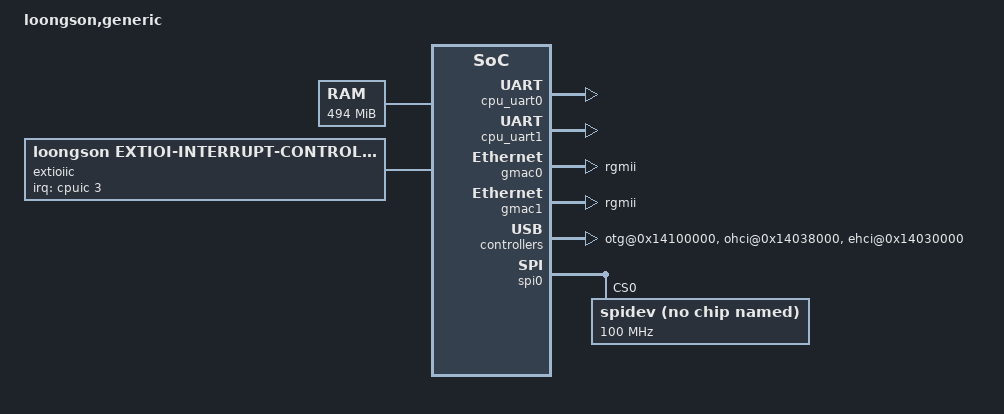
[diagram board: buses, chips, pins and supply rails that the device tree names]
/dts-v1/;
/ {
	model = "loongson,generic";
	compatible = "loongson,loongson3";
	#address-cells = <2>;
	#size-cells = <2>;

	aliases {
		ethernet0 = &gmac0;
		ethernet1 = &gmac1;
		serial0 = &cpu_uart0;
		serial1 = &cpu_uart1;
#if 0
		spi0 = &spi0;
#endif
	};

	chosen {
		stdout-path = "serial0:115200n8";
		bootargs = "earlycon";
	};

	memory {
		name = "memory";
		device_type = "memory";
		reg =  <0 0x00200000 0 0x0ee00000
			0 0x90000000 0 0x10000000>;
	};
#if 0
	reserved-memory {
		#address-cells = <1>;
		#size-cells = <1>;
		ranges;

		linux,cma {
			compatible = "shared-dma-pool";
			reusable;
			size = <0x2000000>;
			linux,cma-default;
		};
	};
#endif
	cpus {
		#address-cells = <1>;
		#size-cells = <0>;
		cpu-map {
			cluster0 {
				core0 {
					cpu = <&cpu0>;
				};
			};
		};


		cpu0: cpu@10000 {
			device_type = "cpu";
			compatible = "loongarch";
			reg=<0>;
			numa-node-id = <0>;
		};

	};

	cpuic: interrupt-controller {
		compatible = "loongson,cpu-interrupt-controller";
		interrupt-controller;
		#interrupt-cells = <1>;
	};

	icu: interrupt-controller@14001400 {
		compatible = "loongson,2k500-icu";
		interrupt-controller;
		#interrupt-cells = <1>;
		reg = <0 0x14001400 0 0x40
			0 0x14001040 0 16>;
		interrupt-parent = <&cpuic>;
		interrupt-names = "cascade";
		interrupts = <4>;
	};

	extioiic: interrupt-controller@0x14001600 {
		compatible = "loongson,extioi-interrupt-controller";
		interrupt-controller;
		#interrupt-cells = <1>;
		interrupt-parent = <&cpuic>;
		interrupts = <3>;
		interrupt-names = "cascade";
		vec_count=<128>;
		misc_func=<0x108>;
		eio_en_off=<24>;
	};

	soc {
		compatible = "ls,nbus", "simple-bus";
		#address-cells = <2>;
		#size-cells = <2>;
		ranges = <0 0x10000000 0 0x10000000 0 0x10000000
			0 0x2000000  0 0x2000000  0 0x2000000
			0 0x20000000 0 0x20000000 0 0x10000000
			0 0x40000000 0 0x40000000 0 0x40000000
			0xfe 0x00000000 0xfe 0x00000000 0 0x40000000>;

		isa@16400000 {
			compatible = "isa";
			#size-cells = <1>;
			#address-cells = <2>;
			ranges = <1 0 0 0x16400000 0x4000>;
		};

		cpu_uart0: serial@0x14200000 {
			compatible = "ns16550a";
			reg = <0 0x14200000 0 0x10>;
			clock-frequency = <100000000>;
			#interrupt-parent = <&extioiic>;
			interrupt-parent = <&icu>;
			interrupts = <0>;
			no-loopback-test;
		};

		cpu_uart1: serial@0x14200400 {
			compatible = "ns16550a";
			reg = <0 0x14200400 0 0x10>;
			clock-frequency = <100000000>;
			#interrupt-parent = <&extioiic>;
			interrupt-parent = <&icu>;
			interrupts = <1>;
			no-loopback-test;
		};

#if 0
		/*emmc*/
		emmc0@0x14210000 {
			#address-cells = <2>;
			compatible = "loongson,ls2k_sdio_1.1";
			reg = <0 0x14210000 0 0x1000>;
			interrupt-parent = <&icu>;
			interrupts = <13>;
			interrupt-names = "ls2k_mci_irq";
			dma-mask = <0xffffffff 0xffffffff>;
			clock-frequency = <0 100000000>;
			bus-width = <8>;
			cap-mmc-highspeed;
			no_sd;
			no_sdio;
		};

		sdio0@0x14218000 {
			#address-cells = <2>;
			compatible = "loongson,ls2k_sdio_1.1";
			reg = <0 0x14218000 0 0x1000>;
			interrupt-parent = <&icu>;
			interrupts = <13>;
			interrupt-names = "ls2k_mci_irq";
			clock-frequency = <0 100000000>;
			dma-mask = <0xffffffff 0xffffffff>;
			bus-width = <4>;
			cap-sd-highspeed;
			no-mmc;
		};
#endif
		gmac0: ethernet@0x14140000 {
			compatible = "snps,dwmac-3.70a";
			reg = <0 0x14140000 0 0x10000>;
			interrupt-parent = <&icu>;
			interrupts = <18>;
			interrupt-names = "macirq";
			mac-address = [ 64 48 48 48 48 60 ];/* [>mac 64:48:48:48:48:60 <]*/
			phy-mode = "rgmii";
			bus_id = <0x0>;
			phy_addr = <0xffffffff>;
			dma-mask = <0xffffffff 0xffffffff>;
		};

		gmac1: ethernet@0x14020000 {
			compatible = "snps,dwmac-3.70a";
			reg = <0 0x14020000 0 0x10000>;
			interrupt-parent = <&icu>;
			interrupts = <22>;
			interrupt-names = "macirq";
			mac-address = [ 64 48 48 48 48 61 ];/* [>mac 64:48:48:48:48:61 <]*/
			phy-mode = "rgmii";
			bus_id = <0x1>;
			phy_addr = <0xffffffff>;
			dma-mask = <0xffffffff 0xffffffff>;
		};
#if 1
		otg@0x14100000 {
			compatible = "loongson,dwc-otg","dwc-otg","loongson,dwc2";
			reg = <0 0x14100000 0 0x40000>;
			interrupt-parent = <&extioiic>;
			interrupts = <39>;
			dma-mask = <0x0 0xffffffff>;
		};
#endif
		ohci@0x14038000 {
			compatible = "loongson,ls2k-ohci", "generic-ohci";
			reg = <0 0x14038000 0 0x8000>;
			interrupt-parent = <&extioiic>;
			interrupts = <59>;
			dma-mask = <0x0 0xffffffff>;
		};

		ehci@0x14030000 {
			compatible = "loongson,ls2k-ehci", "generic-ehci";
			reg = <0 0x14030000 0 0x8000>;
			interrupt-parent = <&extioiic>;
			interrupts = <58>;
			dma-mask = <0xffffffff 0xffffffff>;
		};

		spi0: spi@0x14010000 {
			compatible = "loongson,ls-spi";
			reg = <0 0x14010000 0 0x10>;
			spidev@0 {
				compatible = "rohm,dh2228fv";
				spi-max-frequency = <100000000>;
				reg = <0>;
			};
		};
#if 0 //TODO, new spi ctrl
		spi1: spi@0x14203000 {
			compatible = "loongson,ls-spi";
			reg = <0 0x14203000 0 0x10>;
			spi-nocs;
			status = "disabled";
		};

		spi2: spi@0x15109000 {
			compatible = "loongson,ls-spi";
			reg = <0 0x15109000 0 0x10>;
			spi-nocs;
			status = "disabled";
		};

		spi3: spi@0x15203000 {
			compatible = "loongson,ls-spi";
			reg = <0 0x15203000 0 0x10>;
			spi-nocs;
			status = "disabled";
		};
#endif
#if 0
		i2c0: i2c@0x14201000 {
			compatible = "loongson,ls2k-i2c";
			reg = <0 0x14201000 0 0x0800>;
			interrupt-parent = <&extioiic>;
			interrupts = <4>;
			eeprom@57 {
				compatible = "atmel,24c16";
				reg = <0x57>;
				pagesize = <16>;
			};
			status = "disabled";
		};

		i2c1: i2c@0x14202800 {
			compatible = "loongson,ls2k-i2c";
			reg = <0 0x14202800 0 0x0800>;
			interrupt-parent = <&extioiic>;
			interrupts = <5>;
			status = "disabled";
		};

		i2c2: i2c@0x15101000 {
			compatible = "loongson,ls2k-i2c";
			reg = <0 0x15101000 0 0x0800>;
			interrupt-parent = <&extioiic>;
			interrupts = <89>;
			status = "disabled";
		};

		i2c3: i2c@0x15101800 {
			compatible = "loongson,ls2k-i2c";
			reg = <0 0x15101800 0 0x0800>;
			interrupt-parent = <&extioiic>;
			interrupts = <90>;
			status = "disabled";
		};
#endif
	};
};
